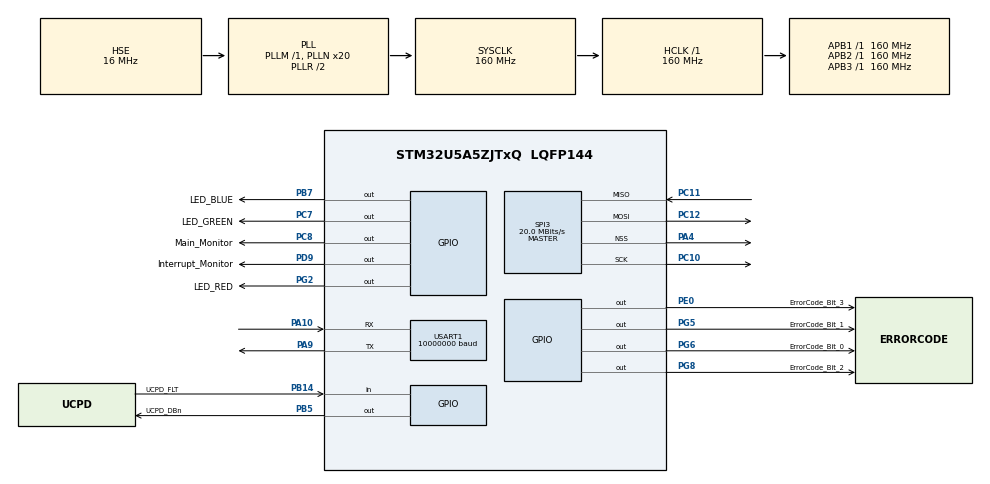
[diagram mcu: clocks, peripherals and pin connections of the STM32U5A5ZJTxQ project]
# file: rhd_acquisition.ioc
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CORTEX_M33_NS.userName=CORTEX_M33
GPDMA1.DATAHANDLING_GPDMACH12=NONE
GPDMA1.DESTDATAWIDTH_GPDMACH12=DMA_DEST_DATAWIDTH_HALFWORD
GPDMA1.DESTDATAWIDTH_GPDMACH13=DMA_DEST_DATAWIDTH_HALFWORD
GPDMA1.DESTINC_GPDMACH13=DMA_DINC_INCREMENTED
GPDMA1.DIRECTION_GPDMACH0=DMA_MEMORY_TO_PERIPH
GPDMA1.DIRECTION_GPDMACH12=DMA_MEMORY_TO_PERIPH
GPDMA1.IPHANDLE_GPDMACH0-SIMPLEREQUEST_GPDMACH0=__NULL
GPDMA1.IPHANDLE_GPDMACH12-SIMPLEREQUEST_GPDMACH12=__NULL
GPDMA1.IPHANDLE_GPDMACH13-SIMPLEREQUEST_GPDMACH13=__NULL
GPDMA1.PRIORITY_GPDMACH0=DMA_HIGH_PRIORITY
GPDMA1.PRIORITY_GPDMACH12=DMA_LOW_PRIORITY_LOW_WEIGHT
GPDMA1.PRIORITY_GPDMACH13=DMA_LOW_PRIORITY_LOW_WEIGHT
GPDMA1.REQUEST_GPDMACH0=GPDMA1_REQUEST_USART1_TX
GPDMA1.REQUEST_GPDMACH12=GPDMA1_REQUEST_SPI3_TX
GPDMA1.REQUEST_GPDMACH13=GPDMA1_REQUEST_SPI3_RX
GPDMA1.SRCBURSTLENGTH_GPDMACH12=1
GPDMA1.SRCDATAWIDTH_GPDMACH12=DMA_SRC_DATAWIDTH_HALFWORD
GPDMA1.SRCDATAWIDTH_GPDMACH13=DMA_SRC_DATAWIDTH_HALFWORD
GPDMA1.SRCINC_GPDMACH0=DMA_SINC_INCREMENTED
GPDMA1.SRCINC_GPDMACH12=DMA_SINC_INCREMENTED
GPDMA1.TRIGGERPOLARITY_GPDMACH12=DMA_TRIG_POLARITY_MASKED
Mcu.Family=STM32U5
Mcu.Name=STM32U5A5ZJTxQ
Mcu.Package=LQFP144
NVIC.GPDMA1_Channel0_IRQn=true\:0\:0\:false\:false\:true\:false\:true\:true
NVIC.GPDMA1_Channel12_IRQn=true\:0\:0\:false\:false\:true\:false\:true\:true
NVIC.GPDMA1_Channel13_IRQn=true\:0\:0\:false\:false\:true\:false\:true\:true
NVIC.PriorityGroup=NVIC_PRIORITYGROUP_4
NVIC.SPI3_IRQn=true\:0\:0\:false\:false\:true\:false\:true\:true
NVIC.TIM3_IRQn=true\:0\:0\:true\:false\:true\:true\:true\:true
NVIC.USART1_IRQn=true\:0\:0\:false\:false\:true\:true\:true\:true
PA10.Mode=Asynchronous
PA10.Signal=USART1_RX
PA13\ (JTMS/SWDIO).Mode=Trace_Asynchronous_SW
PA13\ (JTMS/SWDIO).Signal=DEBUG_JTMS-SWDIO
PA14\ (JTCK/SWCLK).Mode=Trace_Asynchronous_SW
PA14\ (JTCK/SWCLK).Signal=DEBUG_JTCK-SWCLK
PA4.GPIO_Speed=GPIO_SPEED_FREQ_VERY_HIGH
PA4.Mode=NSS_Signal_Hard_Output
PA4.Signal=SPI3_NSS
PA9.GPIO_Speed=GPIO_SPEED_FREQ_VERY_HIGH
PA9.Mode=Asynchronous
PA9.Signal=USART1_TX
PB14.GPIO_Label=UCPD_FLT
PB14.Signal=GPIO_Input
PB3\ (JTDO/TRACESWO).Mode=Trace_Asynchronous_SW
PB3\ (JTDO/TRACESWO).Signal=DEBUG_JTDO-SWO
PB5.GPIO_Label=UCPD_DBn
PB5.Signal=GPIO_Output
PB7.GPIO_Label=LED_BLUE
PB7.Signal=GPIO_Output
PC10.GPIO_Speed=GPIO_SPEED_FREQ_VERY_HIGH
PC10.Mode=Full_Duplex_Master
PC10.Signal=SPI3_SCK
PC11.GPIO_Speed=GPIO_SPEED_FREQ_VERY_HIGH
PC11.Mode=Full_Duplex_Master
PC11.Signal=SPI3_MISO
PC12.GPIO_Speed=GPIO_SPEED_FREQ_VERY_HIGH
PC12.Mode=Full_Duplex_Master
PC12.Signal=SPI3_MOSI
PC14-OSC32_IN\ (PC14).Mode=LSE-External-Oscillator
PC14-OSC32_IN\ (PC14).Signal=RCC_OSC32_IN
PC15-OSC32_OUT\ (PC15).Mode=LSE-External-Oscillator
PC15-OSC32_OUT\ (PC15).Signal=RCC_OSC32_OUT
PC7.GPIO_Label=LED_GREEN
PC7.Signal=GPIO_Output
PC8.GPIO_Label=Main_Monitor
PC8.GPIO_Speed=GPIO_SPEED_FREQ_VERY_HIGH
PC8.Signal=GPIO_Output
PD9.GPIO_Label=Interrupt_Monitor
PD9.Signal=GPIO_Output
PE0.GPIO_Label=ErrorCode_Bit_3
PE0.Signal=GPIO_Output
PG2.GPIO_Label=LED_RED
PG2.Signal=GPIO_Output
PG5.GPIO_Label=ErrorCode_Bit_1
PG5.Signal=GPIO_Output
PG6.GPIO_Label=ErrorCode_Bit_0
PG6.Signal=GPIO_Output
PG8.GPIO_Label=ErrorCode_Bit_2
PG8.Signal=GPIO_Output
PH0-OSC_IN\ (PH0).Mode=HSE-External-Oscillator
PH0-OSC_IN\ (PH0).Signal=RCC_OSC_IN
PH1-OSC_OUT\ (PH1).Mode=HSE-External-Oscillator
PH1-OSC_OUT\ (PH1).Signal=RCC_OSC_OUT
PWR.PowerMode=PWR_SMPS_SUPPLY
ProjectManager.HeapSize=0x200
ProjectManager.StackSize=0x400
ProjectManager.TargetToolchain=STM32CubeIDE
RCC.ADCFreq_Value=16000000
RCC.AHBFreq_Value=160000000
RCC.APB1Freq_Value=160000000
RCC.APB1TimFreq_Value=160000000
RCC.APB2Freq_Value=160000000
RCC.APB2TimFreq_Value=160000000
RCC.APB3Freq_Value=160000000
RCC.CortexFreq_Value=160000000
RCC.DACCLockSelectionVirtual=RCC_DAC1CLKSOURCE_LSI
RCC.EPOD_VALUE=16000000
RCC.HCLKFreq_Value=160000000
RCC.HSE_VALUE=16000000
RCC.HSI48_VALUE=48000000
RCC.HSI_VALUE=16000000
RCC.LSIDIV_VALUE=32000
RCC.MSIClockRange=RCC_MSIRANGE_0
RCC.MSIKClockRange=RCC_MSIKRANGE_0
RCC.MSI_VALUE=48000000
RCC.PLL1MBOOST=RCC_PLLMBOOST_DIV1
RCC.PLL1P=8
RCC.PLL2FRACN=0
RCC.PLL2Source=RCC_PLLSOURCE_HSE
RCC.PLL3FRACN=0
RCC.PLLFRACN=0
RCC.PLLN=20
RCC.PLLSourceVirtual=RCC_PLLSOURCE_HSE
RCC.SPI3CLockSelection=RCC_SPI3CLKSOURCE_PCLK3
RCC.SYSCLKFreq_VALUE=160000000
RCC.SYSCLKSource=RCC_SYSCLKSOURCE_PLLCLK
RCC.USBPHYCLockSelection=RCC_USBPHYCLKSOURCE_HSE
RCC.VCOOutputFreq_Value=320000000
SPI3.BaudRatePrescaler=SPI_BAUDRATEPRESCALER_8
SPI3.CLKPhase=SPI_PHASE_1EDGE
SPI3.CLKPolarity=SPI_POLARITY_LOW
SPI3.CalculateBaudRate=20.0 MBits/s
SPI3.DataSize=SPI_DATASIZE_16BIT
SPI3.Direction=SPI_DIRECTION_2LINES
SPI3.MasterInterDataIdleness=SPI_MASTER_INTERDATA_IDLENESS_04CYCLE
SPI3.MasterKeepIOState=SPI_MASTER_KEEP_IO_STATE_ENABLE
SPI3.MasterReceiverAutoSusp=SPI_MASTER_RX_AUTOSUSP_ENABLE
SPI3.MasterSSIdleness=SPI_MASTER_SS_IDLENESS_00CYCLE
SPI3.Mode=SPI_MODE_MASTER
SPI3.TriggerState=SPI_AUTO_MODE_DISABLE
SPI3.VirtualNSS=VM_NSSHARD
SPI3.VirtualType=VM_MASTER
TIM3.AutoReloadPreload=TIM_AUTORELOAD_PRELOAD_ENABLE
TIM3.Channel-Output\ Compare1\ No\ Output=TIM_CHANNEL_1
TIM3.PeriodNoDither=8000
USART1.BaudRate=10000000
USART1.DMADisableonRxErrorParam=ADVFEATURE_DMA_DISABLEONRXERROR
USART1.Mode=MODE_TX
USART1.OneBitSampling=UART_ONE_BIT_SAMPLE_ENABLE
USART1.OverSampling=UART_OVERSAMPLING_8
USART1.OverrunDisableParam=ADVFEATURE_OVERRUN_DISABLE
USART1.VirtualMode-Asynchronous=VM_ASYNC
VP_GPDMA1_VS_GPDMACH0.Mode=SIMPLEREQUEST_GPDMACH0
VP_GPDMA1_VS_GPDMACH12.Mode=SIMPLEREQUEST_GPDMACH12
VP_GPDMA1_VS_GPDMACH13.Mode=SIMPLEREQUEST_GPDMACH13
VP_ICACHE_VS_ICACHE.Mode=DirectMappedCache
VP_LPBAMQUEUE_VS_QUEUE.Mode=QUEUEMODE
VP_LPBAM_VS_SIG1.Mode=SmartRun
VP_LPBAM_VS_SIG4.Mode=LPDMA1
VP_MEMORYMAP_VS_MEMORYMAP.Mode=CurAppReg
VP_PWR_VS_DBSignals.Mode=DisableDeadBatterySignals
VP_PWR_VS_LPOM.Mode=PowerOptimisation
VP_PWR_VS_SECSignals.Mode=Security/Privilege
VP_TIM3_VS_no_output1.Mode=Output Compare1 No Output
board=NUCLEO-U5A5ZJ-Q

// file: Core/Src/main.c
/* USER CODE BEGIN Header */
/**
  ******************************************************************************
  * @file           : main.c
  * @brief          : Main program body
  ******************************************************************************
  * @attention
  *
  * Copyright (c) 2023 STMicroelectronics.
  * All rights reserved.
  *
  * This software is licensed under terms that can be found in the LICENSE file
  * in the root directory of this software component.
  * If no LICENSE file comes with this software, it is provided AS-IS.
  *
  ******************************************************************************

  Intan Technologies RHD STM32 Firmware Framework
  Version 1.2

  Copyright (c) 2025 Intan Technologies

  This file is part of the Intan Technologies RHD STM32 Firmware Framework.

  Permission is hereby granted, free of charge, to any person obtaining a copy
  of this software and associated documentation files (the “Software�?), to deal
  in the Software without restriction, including without limitation the rights
  to use, copy, modify, merge, publish, distribute, sublicense, and/or sell
  copies of the Software, and to permit persons to whom the Software is
  furnished to do so, subject to the following conditions:

  The above copyright notice and this permission notice shall be included in
  all copies or substantial portions of the Software.

  THE SOFTWARE IS PROVIDED “AS IS�?, WITHOUT WARRANTY OF ANY KIND, EXPRESS OR
  IMPLIED, INCLUDING BUT NOT LIMITED TO THE WARRANTIES OF MERCHANTABILITY,
  FITNESS FOR A PARTICULAR PURPOSE AND NONINFRINGEMENT. IN NO EVENT SHALL THE
  AUTHORS OR COPYRIGHT HOLDERS BE LIABLE FOR ANY CLAIM, DAMAGES OR OTHER
  LIABILITY, WHETHER IN AN ACTION OF CONTRACT, TORT OR OTHERWISE, ARISING FROM,
  OUT OF OR IN CONNECTION WITH THE SOFTWARE OR THE USE OR OTHER DEALINGS IN
  THE SOFTWARE.

  See <http://www.intantech.com> for documentation and product information.

  */
/* USER CODE END Header */
#include "main.h"

/* USER CODE BEGIN Includes */
#include "userfunctions.h"
/* USER CODE END Includes */

SPI_HandleTypeDef hspi3;
DMA_HandleTypeDef handle_GPDMA1_Channel13;
DMA_HandleTypeDef handle_GPDMA1_Channel12;

TIM_HandleTypeDef htim3;

UART_HandleTypeDef huart1;
DMA_HandleTypeDef handle_GPDMA1_Channel0;

void SystemClock_Config(void);
static void SystemPower_Config(void);
static void MX_GPIO_Init(void);
static void MX_GPDMA1_Init(void);
static void MX_USART1_UART_Init(void);
static void MX_TIM3_Init(void);
static void MX_SPI3_Init(void);
static void MX_ICACHE_Init(void);

int main(void)
{

  /* MCU Configuration--------------------------------------------------------*/

  /* Reset of all peripherals, Initializes the Flash interface and the Systick. */
  HAL_Init();

  /* Configure the System Power */
  SystemPower_Config();

  /* Configure the system clock */
  SystemClock_Config();

  /* USER CODE BEGIN SysInit */

  // Wait for 500 ms after program starts.
  // This is due to a STM32CubeIDE-related bug that runs previously loaded software briefly on the target device
  // before running the new software when downloading and running new code. This doesn't happen when triggering a hardware
  // reset, for example pushing the RESET button on a NUCLEO board, or when downloading/running using
  // STM32CubeProgrammer. For these cases, this delay can be removed.
  // When this bug does occur, we recommend including a delay of ~500 ms so that this brief running of the previously
  // loaded program doesn't have any interaction with any peripherals and this re-run program does nothing important.
  // In practice, 50 ms is likely enough of a pause from our testing, but 500 ms is even safer.
  wait_ms(500);

  /* USER CODE END SysInit */

  /* Initialize all configured peripherals */
  MX_GPIO_Init();
  MX_GPDMA1_Init();
  MX_USART1_UART_Init();
  MX_TIM3_Init();
  MX_SPI3_Init();
  MX_ICACHE_Init();
  /* USER CODE BEGIN 2 */

  // Write register value to pause all used timers when execution pauses during debug
  SET_BIT(DBGMCU->APB1FZR1, 0b10); // enable pausing TIM3 during debug

  // Allocate sample_memory array which will be used to store acquired data.
  allocate_sample_memory();

  // Set up SPI DMA configuration for when SPI transfers begin.
  initialize_spi_with_dma();

  // Initialize Intan chip registers with suitable settings for this application.
  // This not only determines the initial registers, but actually writes them via SPI.
  configure_registers();

  // Populate first CONVERT_COMMANDS_PER_SEQUENCE that will repeatedly
  // convert for each sample interrupt.
  // Note that AUX_COMMANDS_PER_SEQUENCE remain unpopulated in command_sequence_MOSI after this.
  configure_convert_commands();

  // Populate the AUX_COMMANDS_PER_SEQUENCE command lists (default 3) with auxiliary commands.
  configure_aux_commands();

  copy_next_aux_commands_to_MOSI();

#ifdef ENABLE_BANDPASS_FILTER
  init_bandpass_filter((float)calculate_sample_rate());
#endif

#ifdef ENABLE_NOTCH_FILTER
  init_notch_filter((float)calculate_sample_rate());
#endif

  // Turn on LED to indicate acquisition is about to start.
  write_pin(LED_GREEN_GPIO_Port, LED_GREEN_Pin, true);

  // Start timer so that at every period defined by INTERRUPT_TIM, an interrupt occurs, starting an SPI command sequence.
  sample_counter = 0;
  sample_interrupt_occurred = false;
  enable_interrupt_timer(true);
  main_loop_active = true;
  main_pin_status = false;

  /* USER CODE END 2 */

  /* Infinite loop */
  /* USER CODE BEGIN WHILE */

  // Keep looping, doing nothing (other than handling interrupts) until enough data has been gathered
  while (1) {

	  // Break infinite loop when loop_escape() condition has been met.
	  if (loop_escape()) break;

	  // During infinite loop, monitor if GPIO pin needs writing from low to high
	  if (main_loop_active && !main_pin_status) {
		  write_pin(Main_Monitor_GPIO_Port, Main_Monitor_Pin, true);
		  main_pin_status = true;
	  }

	  if (sample_interrupt_occurred) {
		  sample_processing_routine();
	  }
    /* USER CODE END WHILE */

    /* USER CODE BEGIN 3 */
  }

  // Disable TIM to stop sample interrupts.
  enable_interrupt_timer(false);
  main_loop_active = false;

  // Disable SPI DMA.
  end_spi_with_dma();

  // Transmit accumulated data.
  transmit_data_offline();

  // Free previously allocated sample memory.
  free_sample_memory();

  // Indicate acquisition and data transfer have completed.
  write_pin(LED_GREEN_GPIO_Port, LED_GREEN_Pin, false);

  // Infinite loop for remainder of program life.
  while (1);

  /* USER CODE END 3 */
}

void SystemClock_Config(void)
{
  RCC_OscInitTypeDef RCC_OscInitStruct = {0};
  RCC_ClkInitTypeDef RCC_ClkInitStruct = {0};

  /** Configure the main internal regulator output voltage
  */
  if (HAL_PWREx_ControlVoltageScaling(PWR_REGULATOR_VOLTAGE_SCALE1) != HAL_OK)
  {
    Error_Handler();
  }

  /** Initializes the CPU, AHB and APB buses clocks
  */
  RCC_OscInitStruct.OscillatorType = RCC_OSCILLATORTYPE_HSE;
  RCC_OscInitStruct.HSEState = RCC_HSE_ON;
  RCC_OscInitStruct.PLL.PLLState = RCC_PLL_ON;
  RCC_OscInitStruct.PLL.PLLSource = RCC_PLLSOURCE_HSE;
  RCC_OscInitStruct.PLL.PLLMBOOST = RCC_PLLMBOOST_DIV1;
  RCC_OscInitStruct.PLL.PLLM = 1;
  RCC_OscInitStruct.PLL.PLLN = 20;
  RCC_OscInitStruct.PLL.PLLP = 8;
  RCC_OscInitStruct.PLL.PLLQ = 2;
  RCC_OscInitStruct.PLL.PLLR = 2;
  RCC_OscInitStruct.PLL.PLLRGE = RCC_PLLVCIRANGE_1;
  RCC_OscInitStruct.PLL.PLLFRACN = 0;
  if (HAL_RCC_OscConfig(&RCC_OscInitStruct) != HAL_OK)
  {
    Error_Handler();
  }

  /** Initializes the CPU, AHB and APB buses clocks
  */
  RCC_ClkInitStruct.ClockType = RCC_CLOCKTYPE_HCLK|RCC_CLOCKTYPE_SYSCLK
                              |RCC_CLOCKTYPE_PCLK1|RCC_CLOCKTYPE_PCLK2
                              |RCC_CLOCKTYPE_PCLK3;
  RCC_ClkInitStruct.SYSCLKSource = RCC_SYSCLKSOURCE_PLLCLK;
  RCC_ClkInitStruct.AHBCLKDivider = RCC_SYSCLK_DIV1;
  RCC_ClkInitStruct.APB1CLKDivider = RCC_HCLK_DIV1;
  RCC_ClkInitStruct.APB2CLKDivider = RCC_HCLK_DIV1;
  RCC_ClkInitStruct.APB3CLKDivider = RCC_HCLK_DIV1;

  if (HAL_RCC_ClockConfig(&RCC_ClkInitStruct, FLASH_LATENCY_4) != HAL_OK)
  {
    Error_Handler();
  }
}

/**
  * @brief Power Configuration
  * @retval None
  */
static void SystemPower_Config(void)
{
  HAL_PWREx_EnableVddIO2();

  /*
   * Disable the internal Pull-Up in Dead Battery pins of UCPD peripheral
   */
  HAL_PWREx_DisableUCPDDeadBattery();

  /*
   * Switch to SMPS regulator instead of LDO
   */
  if (HAL_PWREx_ConfigSupply(PWR_SMPS_SUPPLY) != HAL_OK)
  {
    Error_Handler();
  }
}

static void MX_GPDMA1_Init(void)
{

  /* Peripheral clock enable */
  __HAL_RCC_GPDMA1_CLK_ENABLE();

  /* GPDMA1 interrupt Init */
    HAL_NVIC_SetPriority(GPDMA1_Channel0_IRQn, 0, 0);
    HAL_NVIC_EnableIRQ(GPDMA1_Channel0_IRQn);
    HAL_NVIC_SetPriority(GPDMA1_Channel12_IRQn, 0, 0);
    HAL_NVIC_EnableIRQ(GPDMA1_Channel12_IRQn);
    HAL_NVIC_SetPriority(GPDMA1_Channel13_IRQn, 0, 0);
    HAL_NVIC_EnableIRQ(GPDMA1_Channel13_IRQn);

}

static void MX_ICACHE_Init(void)
{

  /** Enable instruction cache in 1-way (direct mapped cache)
  */
  if (HAL_ICACHE_ConfigAssociativityMode(ICACHE_1WAY) != HAL_OK)
  {
    Error_Handler();
  }
  if (HAL_ICACHE_Enable() != HAL_OK)
  {
    Error_Handler();
  }

}

static void MX_SPI3_Init(void)
{

  SPI_AutonomousModeConfTypeDef HAL_SPI_AutonomousMode_Cfg_Struct = {0};

  /* SPI3 parameter configuration*/
  hspi3.Instance = SPI3;
  hspi3.Init.Mode = SPI_MODE_MASTER;
  hspi3.Init.Direction = SPI_DIRECTION_2LINES;
  hspi3.Init.DataSize = SPI_DATASIZE_16BIT;
  hspi3.Init.CLKPolarity = SPI_POLARITY_LOW;
  hspi3.Init.CLKPhase = SPI_PHASE_1EDGE;
  hspi3.Init.NSS = SPI_NSS_HARD_OUTPUT;
  hspi3.Init.BaudRatePrescaler = SPI_BAUDRATEPRESCALER_8;
  hspi3.Init.FirstBit = SPI_FIRSTBIT_MSB;
  hspi3.Init.TIMode = SPI_TIMODE_DISABLE;
  hspi3.Init.CRCCalculation = SPI_CRCCALCULATION_DISABLE;
  hspi3.Init.CRCPolynomial = 0x7;
  hspi3.Init.NSSPMode = SPI_NSS_PULSE_ENABLE;
  hspi3.Init.NSSPolarity = SPI_NSS_POLARITY_LOW;
  hspi3.Init.FifoThreshold = SPI_FIFO_THRESHOLD_01DATA;
  hspi3.Init.MasterSSIdleness = SPI_MASTER_SS_IDLENESS_00CYCLE;
  hspi3.Init.MasterInterDataIdleness = SPI_MASTER_INTERDATA_IDLENESS_04CYCLE;
  hspi3.Init.MasterReceiverAutoSusp = SPI_MASTER_RX_AUTOSUSP_ENABLE;
  hspi3.Init.MasterKeepIOState = SPI_MASTER_KEEP_IO_STATE_ENABLE;
  hspi3.Init.IOSwap = SPI_IO_SWAP_DISABLE;
  hspi3.Init.ReadyMasterManagement = SPI_RDY_MASTER_MANAGEMENT_INTERNALLY;
  hspi3.Init.ReadyPolarity = SPI_RDY_POLARITY_HIGH;
  if (HAL_SPI_Init(&hspi3) != HAL_OK)
  {
    Error_Handler();
  }
  HAL_SPI_AutonomousMode_Cfg_Struct.TriggerState = SPI_AUTO_MODE_DISABLE;
  HAL_SPI_AutonomousMode_Cfg_Struct.TriggerSelection = SPI_GRP2_LPDMA_CH0_TCF_TRG;
  HAL_SPI_AutonomousMode_Cfg_Struct.TriggerPolarity = SPI_TRIG_POLARITY_RISING;
  if (HAL_SPIEx_SetConfigAutonomousMode(&hspi3, &HAL_SPI_AutonomousMode_Cfg_Struct) != HAL_OK)
  {
    Error_Handler();
  }

}

static void MX_TIM3_Init(void)
{

  TIM_MasterConfigTypeDef sMasterConfig = {0};
  TIM_OC_InitTypeDef sConfigOC = {0};

  htim3.Instance = TIM3;
  htim3.Init.Prescaler = 0;
  htim3.Init.CounterMode = TIM_COUNTERMODE_UP;
  htim3.Init.Period = 8000;
  htim3.Init.ClockDivision = TIM_CLOCKDIVISION_DIV1;
  htim3.Init.AutoReloadPreload = TIM_AUTORELOAD_PRELOAD_ENABLE;
  if (HAL_TIM_OC_Init(&htim3) != HAL_OK)
  {
    Error_Handler();
  }
  sMasterConfig.MasterOutputTrigger = TIM_TRGO_RESET;
  sMasterConfig.MasterSlaveMode = TIM_MASTERSLAVEMODE_DISABLE;
  if (HAL_TIMEx_MasterConfigSynchronization(&htim3, &sMasterConfig) != HAL_OK)
  {
    Error_Handler();
  }
  sConfigOC.OCMode = TIM_OCMODE_TIMING;
  sConfigOC.Pulse = 0;
  sConfigOC.OCPolarity = TIM_OCPOLARITY_HIGH;
  sConfigOC.OCFastMode = TIM_OCFAST_DISABLE;
  if (HAL_TIM_OC_ConfigChannel(&htim3, &sConfigOC, TIM_CHANNEL_1) != HAL_OK)
  {
    Error_Handler();
  }

}

static void MX_USART1_UART_Init(void)
{

  huart1.Instance = USART1;
  huart1.Init.BaudRate = 10000000;
  huart1.Init.WordLength = UART_WORDLENGTH_8B;
  huart1.Init.StopBits = UART_STOPBITS_1;
  huart1.Init.Parity = UART_PARITY_NONE;
  huart1.Init.Mode = UART_MODE_TX;
  huart1.Init.HwFlowCtl = UART_HWCONTROL_NONE;
  huart1.Init.OverSampling = UART_OVERSAMPLING_8;
  huart1.Init.OneBitSampling = UART_ONE_BIT_SAMPLE_ENABLE;
  huart1.Init.ClockPrescaler = UART_PRESCALER_DIV1;
  huart1.AdvancedInit.AdvFeatureInit = UART_ADVFEATURE_RXOVERRUNDISABLE_INIT|UART_ADVFEATURE_DMADISABLEONERROR_INIT;
  huart1.AdvancedInit.OverrunDisable = UART_ADVFEATURE_OVERRUN_DISABLE;
  huart1.AdvancedInit.DMADisableonRxError = UART_ADVFEATURE_DMA_DISABLEONRXERROR;
  if (HAL_UART_Init(&huart1) != HAL_OK)
  {
    Error_Handler();
  }
  if (HAL_UARTEx_SetTxFifoThreshold(&huart1, UART_TXFIFO_THRESHOLD_1_8) != HAL_OK)
  {
    Error_Handler();
  }
  if (HAL_UARTEx_SetRxFifoThreshold(&huart1, UART_RXFIFO_THRESHOLD_1_8) != HAL_OK)
  {
    Error_Handler();
  }
  if (HAL_UARTEx_DisableFifoMode(&huart1) != HAL_OK)
  {
    Error_Handler();
  }

}

static void MX_GPIO_Init(void)
{
  GPIO_InitTypeDef GPIO_InitStruct = {0};

  /* GPIO Ports Clock Enable */
  __HAL_RCC_GPIOC_CLK_ENABLE();
  __HAL_RCC_GPIOH_CLK_ENABLE();
  __HAL_RCC_GPIOA_CLK_ENABLE();
  __HAL_RCC_GPIOB_CLK_ENABLE();
  __HAL_RCC_GPIOD_CLK_ENABLE();
  __HAL_RCC_GPIOG_CLK_ENABLE();
  __HAL_RCC_GPIOE_CLK_ENABLE();

  /*Configure GPIO pin Output Level */
  HAL_GPIO_WritePin(Interrupt_Monitor_GPIO_Port, Interrupt_Monitor_Pin, GPIO_PIN_RESET);

  /*Configure GPIO pin Output Level */
  HAL_GPIO_WritePin(GPIOG, LED_RED_Pin|ErrorCode_Bit_1_Pin|ErrorCode_Bit_0_Pin|ErrorCode_Bit_2_Pin, GPIO_PIN_RESET);

  /*Configure GPIO pin Output Level */
  HAL_GPIO_WritePin(GPIOC, LED_GREEN_Pin|Main_Monitor_Pin, GPIO_PIN_RESET);

  /*Configure GPIO pin Output Level */
  HAL_GPIO_WritePin(GPIOB, UCPD_DBn_Pin|LED_BLUE_Pin, GPIO_PIN_RESET);

  /*Configure GPIO pin Output Level */
  HAL_GPIO_WritePin(ErrorCode_Bit_3_GPIO_Port, ErrorCode_Bit_3_Pin, GPIO_PIN_RESET);

  /*Configure GPIO pin : UCPD_FLT_Pin */
  GPIO_InitStruct.Pin = UCPD_FLT_Pin;
  GPIO_InitStruct.Mode = GPIO_MODE_INPUT;
  GPIO_InitStruct.Pull = GPIO_NOPULL;
  HAL_GPIO_Init(UCPD_FLT_GPIO_Port, &GPIO_InitStruct);

  /*Configure GPIO pin : Interrupt_Monitor_Pin */
  GPIO_InitStruct.Pin = Interrupt_Monitor_Pin;
  GPIO_InitStruct.Mode = GPIO_MODE_OUTPUT_PP;
  GPIO_InitStruct.Pull = GPIO_NOPULL;
  GPIO_InitStruct.Speed = GPIO_SPEED_FREQ_LOW;
  HAL_GPIO_Init(Interrupt_Monitor_GPIO_Port, &GPIO_InitStruct);

  /*Configure GPIO pins : LED_RED_Pin ErrorCode_Bit_1_Pin ErrorCode_Bit_0_Pin ErrorCode_Bit_2_Pin */
  GPIO_InitStruct.Pin = LED_RED_Pin|ErrorCode_Bit_1_Pin|ErrorCode_Bit_0_Pin|ErrorCode_Bit_2_Pin;
  GPIO_InitStruct.Mode = GPIO_MODE_OUTPUT_PP;
  GPIO_InitStruct.Pull = GPIO_NOPULL;
  GPIO_InitStruct.Speed = GPIO_SPEED_FREQ_LOW;
  HAL_GPIO_Init(GPIOG, &GPIO_InitStruct);

  /*Configure GPIO pin : LED_GREEN_Pin */
  GPIO_InitStruct.Pin = LED_GREEN_Pin;
  GPIO_InitStruct.Mode = GPIO_MODE_OUTPUT_PP;
  GPIO_InitStruct.Pull = GPIO_NOPULL;
  GPIO_InitStruct.Speed = GPIO_SPEED_FREQ_LOW;
  HAL_GPIO_Init(LED_GREEN_GPIO_Port, &GPIO_InitStruct);

  /*Configure GPIO pin : Main_Monitor_Pin */
  GPIO_InitStruct.Pin = Main_Monitor_Pin;
  GPIO_InitStruct.Mode = GPIO_MODE_OUTPUT_PP;
  GPIO_InitStruct.Pull = GPIO_NOPULL;
  GPIO_InitStruct.Speed = GPIO_SPEED_FREQ_VERY_HIGH;
  HAL_GPIO_Init(Main_Monitor_GPIO_Port, &GPIO_InitStruct);

  /*Configure GPIO pins : UCPD_DBn_Pin LED_BLUE_Pin */
  GPIO_InitStruct.Pin = UCPD_DBn_Pin|LED_BLUE_Pin;
  GPIO_InitStruct.Mode = GPIO_MODE_OUTPUT_PP;
  GPIO_InitStruct.Pull = GPIO_NOPULL;
  GPIO_InitStruct.Speed = GPIO_SPEED_FREQ_LOW;
  HAL_GPIO_Init(GPIOB, &GPIO_InitStruct);

  /*Configure GPIO pin : ErrorCode_Bit_3_Pin */
  GPIO_InitStruct.Pin = ErrorCode_Bit_3_Pin;
  GPIO_InitStruct.Mode = GPIO_MODE_OUTPUT_PP;
  GPIO_InitStruct.Pull = GPIO_NOPULL;
  GPIO_InitStruct.Speed = GPIO_SPEED_FREQ_LOW;
  HAL_GPIO_Init(ErrorCode_Bit_3_GPIO_Port, &GPIO_InitStruct);

}

void Error_Handler(void)
{
  __disable_irq();
  while (1)
  {
  }
}
